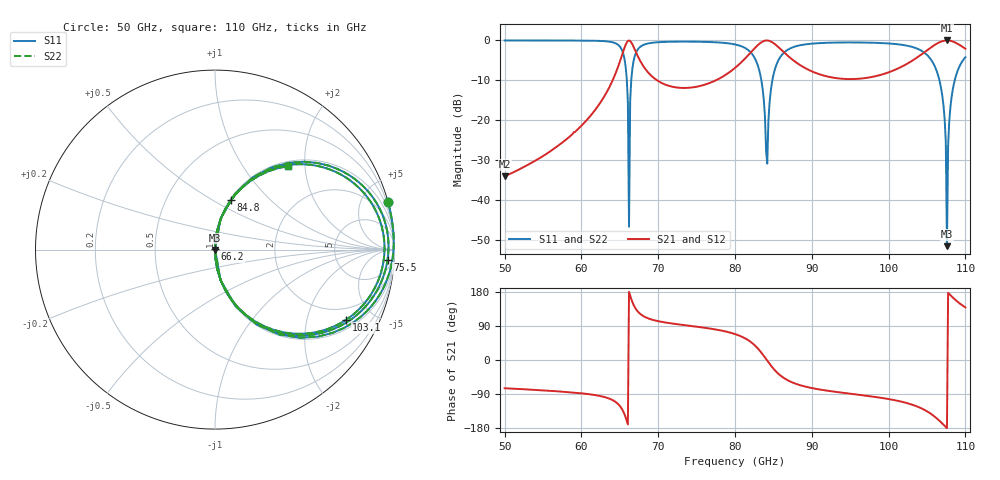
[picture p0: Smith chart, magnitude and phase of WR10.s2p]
! Touchstone file exported from HFSS 2020.1.3
!  File:  /home/user/Downloads/WR10.aedt
!  Generated:  11:23:04 AM  Aug 05, 2023
!  Design:  HFSSDesign1
!  Project:  WR10
!  Setup:  Setup1
!  Solution:  Sweep
! Variables:
!  $l = 5.00000mm
!  $t = 1.27000mm
!  $w = 2.54000mm
# GHZ S DB R 50.000000
! Terminal data exported
! Port[1] = 1
! Port[2] = 2
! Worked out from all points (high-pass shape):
!   401 points, 50 GHz to 110 GHz, reference per port
!   highest |S21| = 0.00 dB at 107.6 GHz (marker M1); lowest = -34.0 dB at 50 GHz (marker M2)
!   |S21| within 3 dB of the highest: 82.06 GHz to 86.39 GHz (4.338 GHz wide, 5.15 % of centre); 104.6 GHz to end of sweep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
!   lowest |S11| = -51.5 dB at 107.6 GHz (marker M3), VSWR 1.01
!   |S11| at or under -10 dB: 65.91 GHz to 66.49 GHz (577.3 MHz wide, 0.872 % of centre); 83.43 GHz to 84.87 GHz (1.434 GHz wide, 1.7 % of centre); 106.6 GHz to 108.6 GHz (1.993 GHz wide, 1.85 % of centre)
!   |S22| runs from -51.5 to 0.0 dB; largest |S21 - S12| = 4.4e-14
!   S11 on the Smith chart (normalised r, x): 50 GHz: 0.01, +7.39; 66.2 GHz: 1.00, +0.01; 75.5 GHz: 15, -24; 84.8 GHz: 1.01, +0.61; 103.1 GHz: 1.39, -3.47; 110 GHz: 1.09, +1.63
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50  -0.00 15.4  -34.04 -74.6  -34.04 -74.6  -0.00 15.4
! Gamma 657.00781897498 0 0 0 0 0 657.007390377903 0
! Port Impedance50 0 0 0 0 0 50 0
60.05  -0.03 2.0  -21.27 -88.0  -21.27 -88.0  -0.03 2.0
65.15  -1.91 -35.3  -4.49 -125.3  -4.49 -125.3  -1.91 -35.3
65.6  -4.53 -52.8  -1.89 -142.8  -1.89 -142.8  -4.53 -52.8
65.9  -9.46 -70.0  -0.52 -160.0  -0.52 -160.0  -9.46 -70.0
66.2  -46.67 90.1  -0.00 179.7  -0.00 179.7  -46.67 89.3
67.1  -3.11 44.4  -2.92 134.4  -2.92 134.4  -3.11 44.4
70.1  -0.43 12.0  -10.29 102.0  -10.29 102.0  -0.43 12.0
75.5  -0.33 -3.4  -11.38 86.6  -11.38 86.6  -0.33 -3.4
80  -1.00 -21.6  -6.88 68.4  -6.88 68.4  -1.00 -21.6
82.85  -5.63 -56.8  -1.39 33.2  -1.39 33.2  -5.63 -56.8
84.05  -27.64 -87.6  -0.01 2.5  -0.01 2.5  -27.64 -87.5
84.8  -10.69 72.2  -0.39 -17.8  -0.39 -17.8  -10.69 72.2
86.3  -3.20 43.4  -2.83 -46.6  -2.83 -46.6  -3.20 43.4
90.05  -0.79 15.8  -7.78 -74.2  -7.78 -74.2  -0.79 15.8
100.1  -0.77 -13.4  -7.92 -103.4  -7.92 -103.4  -0.77 -13.4
103.1  -1.63 -28.1  -5.04 -118.1  -5.04 -118.1  -1.63 -28.1
106.4  -8.46 -66.3  -0.67 -156.3  -0.67 -156.3  -8.46 -66.2
107  -13.94 -77.7  -0.18 -167.6  -0.18 -167.6  -13.94 -77.6
107.6  -51.53 -95.9  0.00 -179.8  0.00 -179.8  -51.55 -84.8
108.5  -10.89 72.3  -0.37 162.3  -0.37 162.3  -10.89 72.2
110  -4.21 48.9  -2.07 138.9  -2.07 138.9  -4.21 48.8
